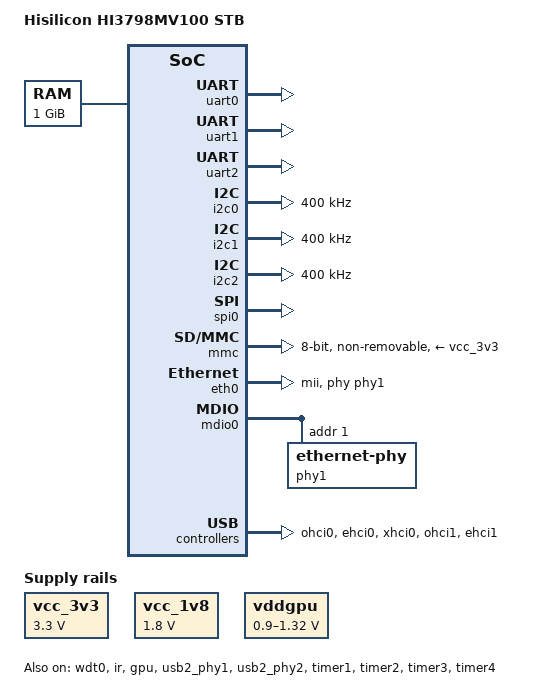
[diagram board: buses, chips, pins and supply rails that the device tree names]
// SPDX-License-Identifier: GPL-2.0
/*
 * Device Tree for HI3798MV100 board (e.g., EC6108V9C)
 * Fixed eMMC spamming and Ethernet
 */

/dts-v1/;
#include "hi3798mv100.dtsi"

/ {
	model = "Hisilicon HI3798MV100 STB";
	compatible = "hisilicon,hi3798mv100";

	chosen {
		stdout-path = "serial0:115200n8";
		bootargs = "console=ttyAMA0,115200 earlycon root=/dev/mmcblk0p9 rootfstype=ext4 rootwait rw";
	};

	memory@0 {
		device_type = "memory";
		reg = <0x0 0x40000000>; /* 1GB */
	};

	reserved-memory {
		#address-cells = <1>;
		#size-cells = <1>;
		ranges;

		linux,cma {
			compatible = "shared-dma-pool";
			reusable;
			size = <0x10000000>;
			alignment = <0x100000>;
			linux,cma-default;
		};
	};

	vcc_3v3: regulator-3v3 {
		compatible = "regulator-fixed";
		regulator-name = "vcc-3v3";
		regulator-min-microvolt = <3300000>;
		regulator-max-microvolt = <3300000>;
		regulator-always-on;
	};

	vcc_1v8: regulator-1v8 {
		compatible = "regulator-fixed";
		regulator-name = "vcc-1v8";
		regulator-min-microvolt = <1800000>;
		regulator-max-microvolt = <1800000>;
		regulator-always-on;
	};
};

/* UARTs */
&uart0 { status = "okay"; };
&uart1 { status = "okay"; };
&uart2 { status = "okay"; };

/* GPIOs (all needed) */
&gpio0 { status = "okay"; };
&gpio1 { status = "okay"; };
&gpio2 { status = "okay"; };
&gpio3 { status = "okay"; };
&gpio4 { status = "okay"; };
&gpio5 { status = "okay"; };
&gpio6 { status = "okay"; };

/* Watchdog */
&wdt0 {
	status = "okay";
	timeout-sec = <60>;
};

/* I2C */
&i2c0 { status = "okay"; clock-frequency = <400000>; };
&i2c1 { status = "okay"; clock-frequency = <400000>; };
&i2c2 { status = "okay"; clock-frequency = <400000>; };

/* SPI */
&spi0 {
	status = "okay";
	num-cs = <2>;
	cs-gpios = <&gpio1 0 GPIO_ACTIVE_LOW>,
		   <&gpio1 1 GPIO_ACTIVE_LOW>;
};

/*
 * eMMC (mmc0) – CRITICAL FIXES
 * - Disable HS200 mode (unreliable on many boards)
 * - Use only HS-DDR and HS modes
 * - Add explicit tuning properties
 * - Keep bus-width = 8
 */
&mmc {
	status = "okay";
	bus-width = <8>;
	non-removable;
	cap-mmc-highspeed;
	cap-mmc-hw-reset;
	mmc-ddr-1_8v;
	/* HS200 is often unstable – disable it */
	/delete-property/ mmc-hs200-1_8v;
	max-frequency = <100000000>;
	vmmc-supply = <&vcc_3v3>;
	vqmmc-supply = <&vcc_1v8>;
	/* Add delay for power sequencing */
	mmc-pwrseq = <&mmc_pwrseq>;
	/* Optional: keep a slower initial frequency */
	/delete-property/ assigned-clocks;
	/delete-property/ assigned-clock-rates;
};

/*
 * SD card (mmc1) – if not used, disable it to avoid polling
 * If your board has no SD slot, set status = "disabled".
 * If it does have a slot, adjust cd-gpios.
 */
&sd {
	status = "disabled";   /* Change to "okay" if you have an SD slot */
	/*
	bus-width = <4>;
	cap-sd-highspeed;
	max-frequency = <100000000>;
	cd-gpios = <&gpio0 0 GPIO_ACTIVE_LOW>;
	vmmc-supply = <&vcc_3v3>;
	*/
};

/* Simple power sequence for eMMC (if needed) */
mmc_pwrseq: pwrseq {
	compatible = "mmc-pwrseq-simple";
	reset-gpios = <&gpio6 7 GPIO_ACTIVE_LOW>; /* placeholder – adjust or remove */
};

/*
 * Ethernet – use hisi-femac-v2 (mainline)
 * The PHY is usually at address 1 on the MDIO bus.
 * If your board uses an external PHY, ensure the reset GPIO is correct.
 */
&eth0 {
	status = "okay";
	phy-handle = <&phy1>;
	phy-mode = "mii";
	/* Reset delays – adjust if your PHY needs different values */
	hisilicon,phy-reset-delays-us = <10000 10000 20000>;
	/* If your PHY has a reset GPIO, add: */
	/* phy-reset-gpios = <&gpio5 2 GPIO_ACTIVE_LOW>; */
};

&mdio0 {
	status = "okay";

	phy1: ethernet-phy@1 {
		reg = <1>;
		/* The bootloader will fill the MAC address */
	};
};

/* Infrared */
&ir {
	status = "okay";
	linux,rc-map-name = "rc-hisi";
};

/* GPU */
&gpu {
	status = "okay";
	mali-supply = <&vddgpu>;
};

&vddgpu {
	regulator-min-microvolt = <900000>;
	regulator-max-microvolt = <1320000>;
	regulator-always-on;
};

/* NAND (disabled) */
&nand { status = "disabled"; };

/* USB PHYs – enable both */
&usb2_phy1 { status = "okay"; };
&usb2_phy2 { status = "okay"; };
&combphy0 { status = "disabled"; };
&combphy1 { status = "disabled"; };

/* USB host controllers – keep them enabled */
&ohci0 { status = "okay"; };
&ehci0 { status = "okay"; };
&xhci0 { status = "okay"; };
&ohci1 { status = "okay"; };
&ehci1 { status = "okay"; };

/* Timers – all sp804 timers, but we rely on the hisilicon timer */
&timer1 { status = "okay"; };
&timer2 { status = "okay"; };
&timer3 { status = "okay"; };
&timer4 { status = "okay"; };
